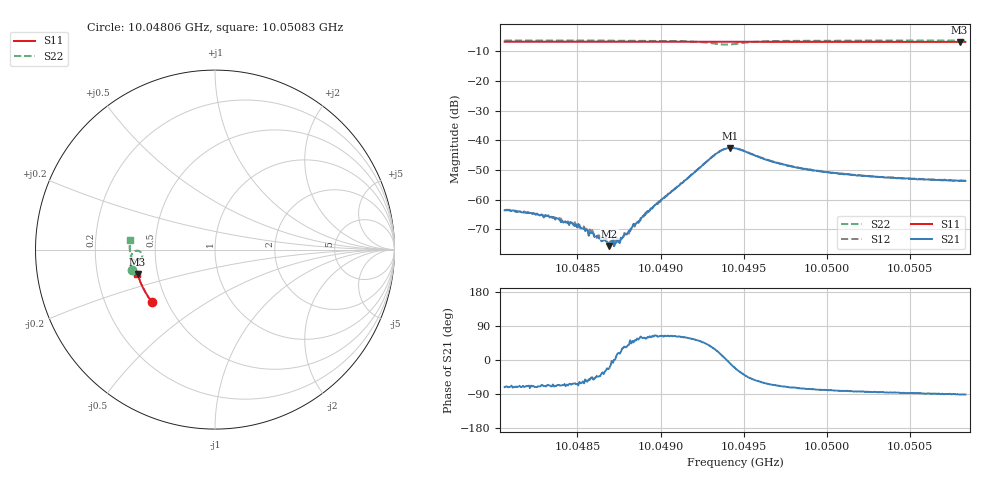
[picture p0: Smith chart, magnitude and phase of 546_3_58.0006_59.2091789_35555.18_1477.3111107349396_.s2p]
#  HZ  S  RI  R  50.00
! Rohde & Schwarz Vector Network Analyzer
! Rohde-Schwarz,ZNB20-2Port,1311601062101988,3.16
! Created: UTC 3/21/2024, 1:14:49 AM
! freq[Hz]  re:S11  im:S11  re:S21  im:S21  re:S12  im:S12  re:S22  im:S22
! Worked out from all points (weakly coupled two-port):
!   401 points, 10.04806 GHz to 10.05083 GHz, reference 50 ohm
!   highest |S21| = -42.58 dB at 10.04942 GHz (marker M1); lowest = -75.6 dB at 10.04869 GHz (marker M2)
!   lowest |S11| = -6.9 dB at 10.0508 GHz (marker M3), VSWR 2.65, Z = 19.2 - j6.56 ohm
!   |S11| at or under -10 dB: nowhere
!   |S22| runs from -7.8 to -6.4 dB; largest |S21 - S12| = 0.00052
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1.0048062e10  -0.3499 -0.294  0.000211 -0.000627  0.00027 -0.000617  -0.4637 -0.1147
1.0048214e10  -0.356 -0.286  0.000166 -0.000573  0.000233 -0.000535  -0.4658 -0.1042
1.0048318e10  -0.3601 -0.2805  0.000212 -0.000484  0.000236 -0.000452  -0.4672 -0.0967
1.0048387e10  -0.3628 -0.2768  0.000191 -0.000425  0.000214 -0.000444  -0.4679 -0.0917
1.0048526e10  -0.3681 -0.2692  0.000163 -0.000287  0.000213 -0.000289  -0.4693 -0.0815
1.0048588e10  -0.3703 -0.266  0.000192 -0.000194  0.000204 -0.000229  -0.4697 -0.0767
1.0048609e10  -0.3712 -0.2647  0.000168 -0.000174  0.000185 -0.000158  -0.4699 -0.0752
1.0048692e10  -0.3742 -0.2602  0.000155 -5.85e-05  0.000181 -4.33e-05  -0.4704 -0.0684
1.0048727e10  -0.3753 -0.2583  0.000179 5.74e-06  0.000207 3.33e-05  -0.4705 -0.0657
1.0048755e10  -0.3765 -0.2567  0.000179 5.45e-05  0.000178 7.13e-05  -0.4706 -0.0633
1.004881e10  -0.3783 -0.2536  0.000228 0.000194  0.000188 0.000193  -0.4706 -0.0584
1.0048907e10  -0.3817 -0.2483  0.000292 0.000471  0.000268 0.000527  -0.47 -0.0496
1.004899e10  -0.3846 -0.2436  0.000418 0.000809  0.000354 0.000864  -0.469 -0.0411
1.0049322e10  -0.3947 -0.2243  0.00486 0.00276  0.00469 0.00306  -0.4246 -0.00706
1.0049371e10  -0.3961 -0.2215  0.00672 0.00134  0.00664 0.00178  -0.4088 -0.0202
1.0049419e10  -0.3974 -0.219  0.00732 -0.00128  0.00743 -0.000794  -0.4066 -0.0432
1.0049447e10  -0.3981 -0.2174  0.00682 -0.00266  0.00703 -0.00221  -0.4133 -0.054
1.004969e10  -0.4057 -0.2036  0.00169 -0.00385  0.00191 -0.00379  -0.4653 -0.043
1.0049911e10  -0.4119 -0.1902  0.000679 -0.00303  0.000918 -0.00302  -0.4733 -0.019
1.0050375e10  -0.4229 -0.1619  0.000178 -0.00235  0.000313 -0.00234  -0.4755 0.0189
1.0050798e10  -0.4314 -0.1357  -4.61e-05 -0.00206  7.59e-05 -0.00209  -0.4733 0.049
1.0050832e10  -0.4322 -0.1335  -3.14e-05 -0.00207  8.55e-05 -0.00207  -0.473 0.0513
